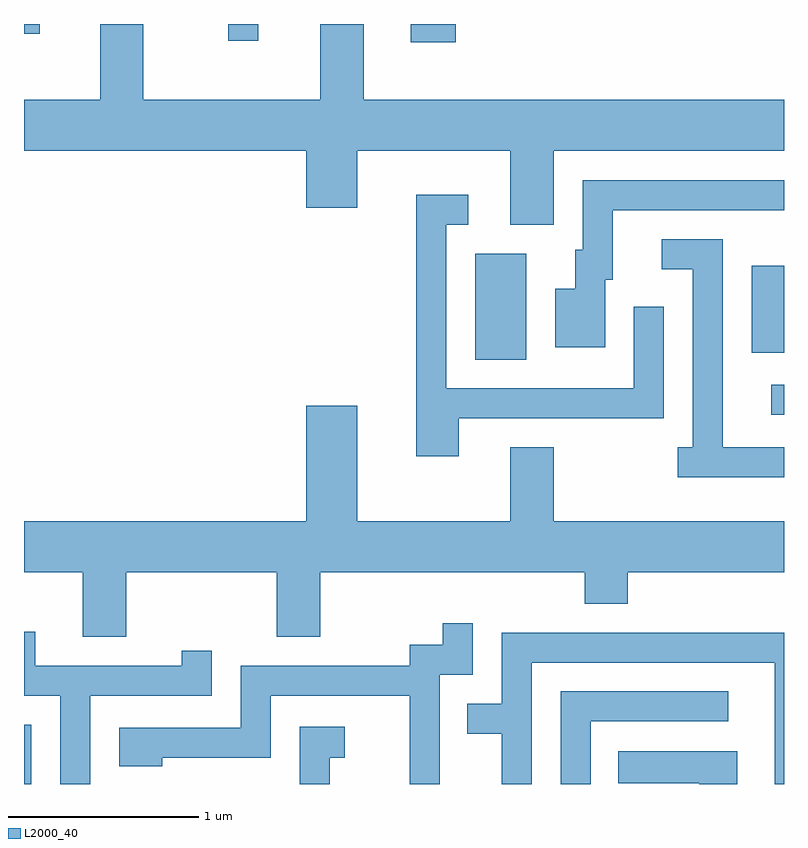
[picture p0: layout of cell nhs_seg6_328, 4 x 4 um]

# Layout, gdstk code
import gdstk
lib = gdstk.Library(unit=1e-6, precision=1e-09)
def R(c, l, rs):  # rectangles x0, y0, x1, y1
    for r in rs: c.add(gdstk.rectangle(r[:2], r[2:], *l))
def P(c, l, *ps):  # polygons
    for p in ps: c.add(gdstk.Polygon(p, *l))
L2000_40 = (2000, 40)

nhs_seg6_328 = lib.new_cell('nhs_seg6_328')
R(nhs_seg6_328, L2000_40, [(193.611,1642.162,193.649,1642.474), (197.543,1644.106,197.611,1644.264), (195.986,1644.396,196.254,1644.954), (197.441,1644.431,197.611,1644.889), (195.646,1646.066,195.884,1646.162), (194.686,1646.073,194.844,1646.162), (193.611,1646.111,193.694,1646.162)])
P(nhs_seg6_328, L2000_40, [(196.399,1645.496),(197.611,1645.496),(197.611,1645.764),(195.399,1645.764),(195.399,1646.162),(195.171,1646.162),(195.171,1645.764),(194.239,1645.764),(194.239,1646.162),(194.011,1646.162),(194.011,1645.764),(193.611,1645.764),(193.611,1645.496),(195.096,1645.496),(195.096,1645.196),(195.364,1645.196),(195.364,1645.496),(196.171,1645.496),(196.171,1645.106),(196.399,1645.106)],
  [(196.669,1644.816),(196.709,1644.816),(196.709,1645.181),(197.611,1645.181),(197.611,1645.339),(196.551,1645.339),(196.551,1644.974),(196.511,1644.974),(196.511,1644.769),(196.406,1644.769),(196.406,1644.461),(196.669,1644.461)],
  [(195.899,1644.086),(196.979,1644.086),(196.979,1644.673),(196.821,1644.673),(196.821,1644.244),(195.834,1644.244),(195.834,1645.106),(195.948,1645.106),(195.948,1645.264),(195.676,1645.264),(195.676,1643.886),(195.899,1643.886)],
  [(197.611,1643.934),(197.289,1643.934),(197.289,1645.029),(196.968,1645.029),(196.968,1644.871),(197.131,1644.871),(197.131,1643.934),(197.053,1643.934),(197.053,1643.776),(197.611,1643.776)],
  [(194.149,1643.276),(194.941,1643.276),(194.941,1642.936),(195.169,1642.936),(195.169,1643.276),(196.561,1643.276),(196.561,1643.111),(196.789,1643.111),(196.789,1643.276),(197.611,1643.276),(197.611,1643.544),(196.399,1643.544),(196.399,1643.934),(196.171,1643.934),(196.171,1643.544),(195.364,1643.544),(195.364,1644.154),(195.096,1644.154),(195.096,1643.544),(193.611,1643.544),(193.611,1643.276),(193.921,1643.276),(193.921,1642.936),(194.149,1642.936)],
  [(195.799,1642.736),(195.974,1642.736),(195.974,1643.008),(195.816,1643.008),(195.816,1642.894),(195.641,1642.894),(195.641,1642.784),(194.751,1642.784),(194.751,1642.459),(194.111,1642.459),(194.111,1642.256),(194.339,1642.256),(194.339,1642.301),(194.909,1642.301),(194.909,1642.626),(195.641,1642.626),(195.641,1642.162),(195.799,1642.162)],
  [(193.959,1642.626),(194.599,1642.626),(194.599,1642.863),(194.441,1642.863),(194.441,1642.784),(193.669,1642.784),(193.669,1642.963),(193.611,1642.963),(193.611,1642.626),(193.801,1642.626),(193.801,1642.162),(193.959,1642.162)],
  [(196.284,1642.801),(197.561,1642.801),(197.561,1642.162),(197.611,1642.162),(197.611,1642.959),(196.126,1642.959),(196.126,1642.584),(195.943,1642.584),(195.943,1642.426),(196.126,1642.426),(196.126,1642.162),(196.284,1642.162)],
  [(196.594,1642.491),(197.318,1642.491),(197.318,1642.649),(196.436,1642.649),(196.436,1642.162),(196.594,1642.162)],
  [(195.219,1642.301),(195.298,1642.301),(195.298,1642.464),(195.061,1642.464),(195.061,1642.162),(195.219,1642.162)],
  [(197.364,1642.334),(196.738,1642.334),(196.738,1642.166),(197.166,1642.166),(197.166,1642.162),(197.364,1642.162)])

lib.write_gds('nhs_seg6_328.gds')
